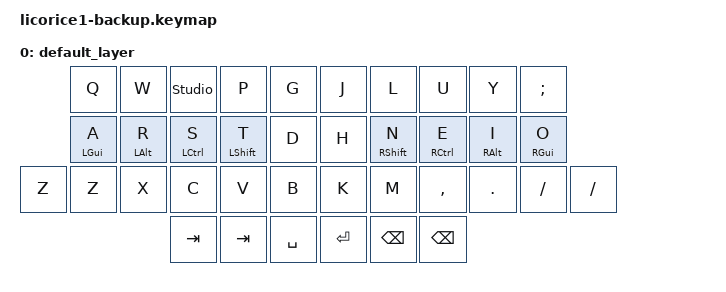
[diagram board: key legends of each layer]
// This file was generated from a template. Edit it to match your keyboard.
// See https://zmk.dev/docs/development/hardware-integration/new-shield for more instructions.

#include <behaviors.dtsi>
#include <dt-bindings/zmk/keys.h>
#include <locale/keys_de.h>

/ {
    // Define a default keymap here.
    // See https://zmk.dev/docs/development/hardware-integration/new-shield#default-keymap.
    keymap {
        compatible = "zmk,keymap";

        default_layer {
             bindings = <
// ╷           ╷           ╷           ╷           ╷           ╷           ╷   ╷           ╷           ╷           ╷           ╷           ╷           ╷

                &kp Q       &kp W       &studio_unlock  &kp P       &kp G           &kp J       &kp L       &kp U       &kp Y       &kp SEMI
                &mt LGUI A  &mt LALT R  &mt LCTRL S &mt LSHFT T &kp D           &kp H       &mt RSHFT N &mt RCTRL E &mt RALT I  &mt RGUI O
    &kp Z       &kp Z       &kp X       &kp C       &kp V       &kp B           &kp K       &kp M       &kp COMMA   &kp DOT     &kp FSLH    &kp FSLH
                                        &kp TAB     &kp TAB     &kp SPACE       &kp RET     &kp BSPC    &kp BSPC
                        >;
                };



        extra1 {
            status = "reserved";
        };

        extra2 {
            status = "reserved";
        };

        extra3 {
            status = "reserved";
        };

        extra4 {
            status = "reserved";
        };

        extra5 {
            status = "reserved";
        };

        extra6 {
            status = "reserved";
        };



    };
};
